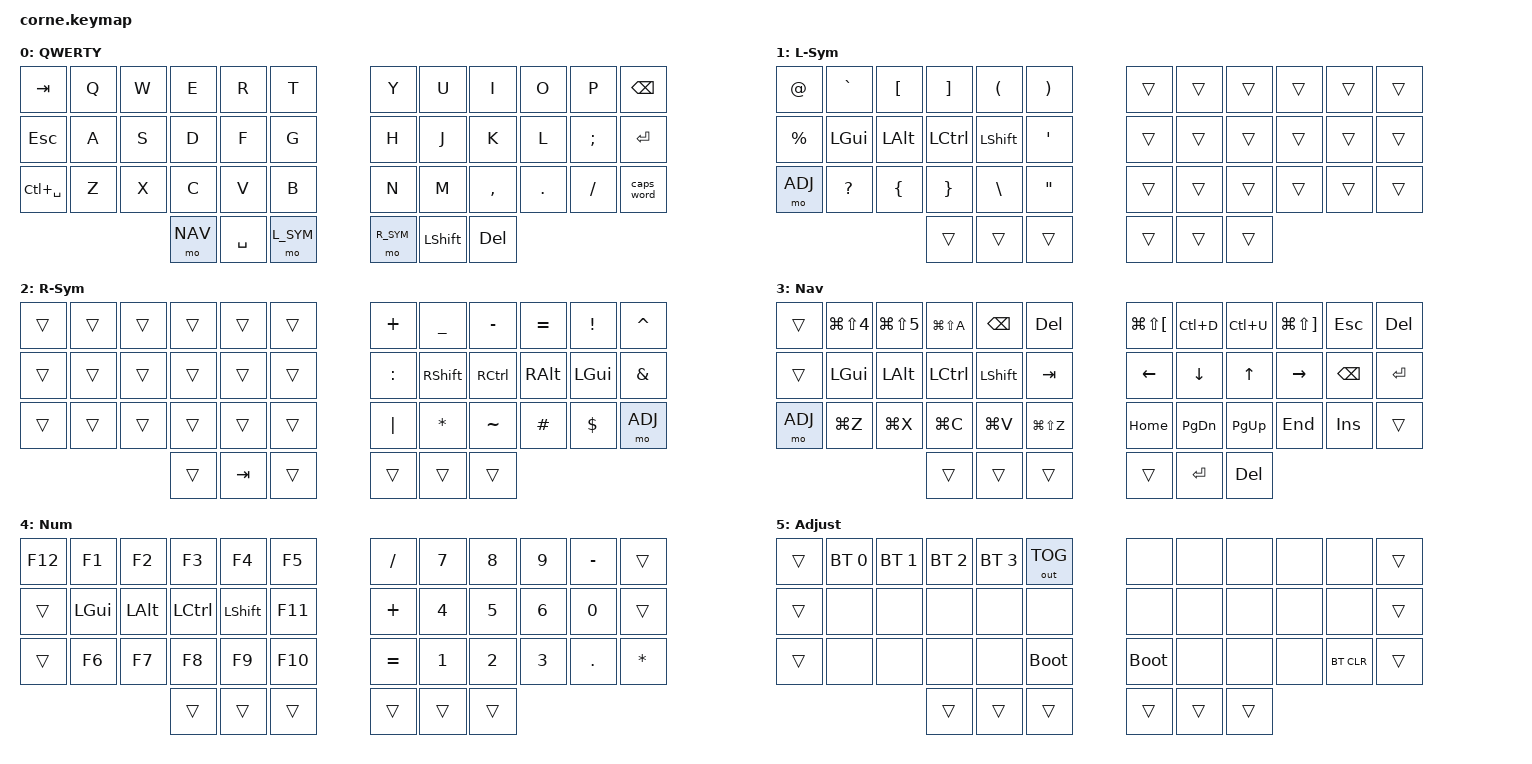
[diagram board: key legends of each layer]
#include <behaviors.dtsi>
#include <dt-bindings/zmk/keys.h>
#include <dt-bindings/zmk/bt.h>
#include <dt-bindings/zmk/outputs.h>

#define BASE_QWT 0
#define L_SYM    1
#define R_SYM    2
#define NAV      3
#define NUM      4
#define ADJ      5

&caps_word {
    continue-list = <UNDERSCORE MINUS BACKSPACE DELETE>;
};

/ {
    conditional_layers {
        compatible = "zmk,conditional-layers";
        tri_layer {
            if-layers = <R_SYM NAV>;
            then-layer = <NUM>;
        };
    };

    keymap {
        compatible = "zmk,keymap";

        // Legend: [HELD] = key(s) held down to keep this layer active ({HELD} = right-hand ADJ alt),
        //         C+SP = Ctrl+Space (한/영; or swap to &kp RGUI for Karabiner right_command -> fn),
        //         G+S4/5 = Cmd+Shift+4/5, G+SA/Z = Cmd+Shift+A/Z, G+S[/] = Cmd+Shift+[/],
        //         C+D/U = Ctrl+D/U, CAPW = Caps Word, ___ = &trans, XXX = &none

        // Layer 0: Base QWERTY (English ABC + Korean 2-Set 두벌식; standard outer pinky edge keys)
        // +------+------+------+------+------+------+   +------+------+------+------+------+------+
        // | TAB  |  Q   |  W   |  E   |  R   |  T   |   |  Y   |  U   |  I   |  O   |  P   | BSPC |
        // | ESC  |  A   |  S   |  D   |  F   |  G   |   |  H   |  J   |  K   |  L   |  ;   | RET  |
        // | C+SP |  Z   |  X   |  C   |  V   |  B   |   |  N   |  M   |  ,   |  .   |  /   | CAPW |
        // +------+------+------+------+------+------+   +------+------+------+------+------+------+
        //                      | NAV  | SPC  | LSYM |   | RSYM | SHFT | DEL  |
        //                      +------+------+------+   +------+------+------+
        base_qwt_layer {
            display-name = "QWERTY";
            bindings = <
                &kp TAB        &kp Q  &kp W  &kp E  &kp R  &kp T        &kp Y  &kp U  &kp I      &kp O    &kp P     &kp BSPC
                &kp ESC        &kp A  &kp S  &kp D  &kp F  &kp G        &kp H  &kp J  &kp K      &kp L    &kp SEMI  &kp RET
                &kp LC(SPACE)  &kp Z  &kp X  &kp C  &kp V  &kp B        &kp N  &kp M  &kp COMMA  &kp DOT  &kp FSLH  &caps_word
                                      &mo NAV  &kp SPACE  &mo L_SYM      &mo R_SYM  &kp LSHFT  &kp DEL
            >;
        };

        // Layer 1: Left Half-Layer — Hold L_IN = [HELD] (Left Mods + Syms | Right Half = &trans Base)
        // +------+------+------+------+------+------+   +------+------+------+------+------+------+
        // |  @   |  `   |  [   |  ]   |  (   |  )   |   | ___  | ___  | ___  | ___  | ___  | ___  |
        // |  %   | LGUI | LALT | LCTL | LSFT |  '   |   | ___  | ___  | ___  | ___  | ___  | ___  |
        // | ADJ  |  ?   |  {   |  }   |  \   |  "   |   | ___  | ___  | ___  | ___  | ___  | ___  |
        // +------+------+------+------+------+------+   +------+------+------+------+------+------+
        //                      | ___  | ___  |[HELD]|   | ___  | ___  | ___  |
        //                      +------+------+------+   +------+------+------+
        l_sym_layer {
            display-name = "L-Sym";
            bindings = <
                &kp AT     &kp GRAVE  &kp LBKT   &kp RBKT   &kp LPAR   &kp RPAR      &trans  &trans  &trans  &trans  &trans  &trans
                &kp PRCNT  &kp LGUI   &kp LALT   &kp LCTRL  &kp LSHFT  &kp SQT       &trans  &trans  &trans  &trans  &trans  &trans
                &mo ADJ    &kp QMARK  &kp LBRC   &kp RBRC   &kp BSLH   &kp DQT       &trans  &trans  &trans  &trans  &trans  &trans
                                      &trans     &trans     &trans                   &trans  &trans  &trans
            >;
        };

        // Layer 2: Right Half-Layer — Hold R_IN = [HELD] (Left Half = &trans Base | Right Mods + Syms)
        //   Uses LGUI (not RGUI) on right pinky so Karabiner right_command -> fn doesn't hijack Cmd
        // +------+------+------+------+------+------+   +------+------+------+------+------+------+
        // | ___  | ___  | ___  | ___  | ___  | ___  |   |  +   |  _   |  -   |  =   |  !   |  ^   |
        // | ___  | ___  | ___  | ___  | ___  | ___  |   |  :   | RSFT | RCTL | RALT | LGUI |  &   |
        // | ___  | ___  | ___  | ___  | ___  | ___  |   |  |   |  *   |  ~   |  #   |  $   | ADJ  |
        // +------+------+------+------+------+------+   +------+------+------+------+------+------+
        //                      | ___  | TAB  | ___  |   |[HELD]| ___  | ___  |
        //                      +------+------+------+   +------+------+------+
        r_sym_layer {
            display-name = "R-Sym";
            bindings = <
                &trans  &trans  &trans  &trans  &trans  &trans       &kp PLUS   &kp UNDER  &kp MINUS  &kp EQUAL  &kp EXCL   &kp CARET
                &trans  &trans  &trans  &trans  &trans  &trans       &kp COLON  &kp RSHFT  &kp RCTRL  &kp RALT   &kp LGUI   &kp AMPS
                &trans  &trans  &trans  &trans  &trans  &trans       &kp PIPE   &kp ASTRK  &kp TILDE  &kp HASH   &kp DLLR   &mo ADJ
                                &trans  &kp TAB &trans               &trans     &trans     &trans
            >;
        };

        // Layer 3: NAV — Hold L_OUT = [HELD] (1-hand Left BSPC/DEL + Right HJKL arrows)
        // +------+------+------+------+------+------+   +------+------+------+------+------+------+
        // | ___  | G+S4 | G+S5 | G+SA | BSPC | DEL  |   | G+S[ | C+D  | C+U  | G+S] | ESC  | DEL  |
        // | ___  | LGUI | LALT | LCTL | LSFT | TAB  |   | LEFT | DOWN |  UP  | RGHT | BSPC | RET  |
        // | ADJ  | G+Z  | G+X  | G+C  | G+V  | G+SZ |   | HOME | PGDN | PGUP | END  | INS  | ___  |
        // +------+------+------+------+------+------+   +------+------+------+------+------+------+
        //                      |[HELD]| ___  | ___  |   | ___  | RET  | DEL  |
        //                      +------+------+------+   +------+------+------+
        nav_layer {
            display-name = "Nav";
            bindings = <
                &trans   &kp LG(LS(N4))  &kp LG(LS(N5))  &kp LG(LS(A))  &kp BSPC   &kp DEL             &kp LG(LS(LBKT))  &kp LC(D)  &kp LC(U)  &kp LG(LS(RBKT))  &kp ESC   &kp DEL
                &trans   &kp LGUI        &kp LALT        &kp LCTRL      &kp LSHFT  &kp TAB             &kp LEFT          &kp DOWN   &kp UP     &kp RIGHT         &kp BSPC  &kp RET
                &mo ADJ  &kp LG(Z)       &kp LG(X)       &kp LG(C)      &kp LG(V)  &kp LG(LS(Z))       &kp HOME          &kp PG_DN  &kp PG_UP  &kp END           &kp INS   &trans
                                         &trans          &trans         &trans                         &trans            &kp RET    &kp DEL
            >;
        };

        // Layer 4: NUM — Tri-Layer: Hold BOTH L_OUT + R_IN = [HELD] (Home Pinky = 0, Col 11 = Base BSPC/RET)
        // +------+------+------+------+------+------+   +------+------+------+------+------+------+
        // | F12  |  F1  |  F2  |  F3  |  F4  |  F5  |   |  /   |  7   |  8   |  9   |  -   | ___  |
        // | ___  | LGUI | LALT | LCTL | LSFT | F11  |   |  +   |  4   |  5   |  6   |  0   | ___  |
        // | ___  |  F6  |  F7  |  F8  |  F9  | F10  |   |  =   |  1   |  2   |  3   |  .   |  *   |
        // +------+------+------+------+------+------+   +------+------+------+------+------+------+
        //                      |[HELD]| ___  | ___  |   |[HELD]| ___  | ___  |
        //                      +------+------+------+   +------+------+------+
        num_layer {
            display-name = "Num";
            bindings = <
                &kp F12  &kp F1    &kp F2    &kp F3     &kp F4     &kp F5       &kp FSLH   &kp N7  &kp N8  &kp N9  &kp MINUS  &trans
                &trans   &kp LGUI  &kp LALT  &kp LCTRL  &kp LSHFT  &kp F11      &kp PLUS   &kp N4  &kp N5  &kp N6  &kp N0     &trans
                &trans   &kp F6    &kp F7    &kp F8     &kp F9     &kp F10      &kp EQUAL  &kp N1  &kp N2  &kp N3  &kp DOT    &kp ASTRK
                                   &trans    &trans     &trans                  &trans     &trans  &trans
            >;
        };

        // Layer 5: Adjust — Hold [HELD]+[HELD] (Left) OR {HELD}+{HELD} (Right)
        // +------+------+------+------+------+------+   +------+------+------+------+------+------+
        // | ___  | BT 0 | BT 1 | BT 2 | BT 3 | OUT  |   | XXX  | XXX  | XXX  | XXX  | XXX  | ___  |
        // | ___  | XXX  | XXX  | XXX  | XXX  | XXX  |   | XXX  | XXX  | XXX  | XXX  | XXX  | ___  |
        // |[HELD]| XXX  | XXX  | XXX  | XXX  | BOOT |   | BOOT | XXX  | XXX  | XXX  |BTCLR |{HELD}|
        // +------+------+------+------+------+------+   +------+------+------+------+------+------+
        //                      | ___  | ___  |[HELD]|   |{HELD}| ___  | ___  |
        //                      +------+------+------+   +------+------+------+
        adj_layer {
            display-name = "Adjust";
            bindings = <
                &trans  &bt BT_SEL 0  &bt BT_SEL 1  &bt BT_SEL 2  &bt BT_SEL 3  &out OUT_TOG      &none        &none  &none  &none  &none       &trans
                &trans  &none         &none         &none         &none         &none             &none        &none  &none  &none  &none       &trans
                &trans  &none         &none         &none         &none         &bootloader       &bootloader  &none  &none  &none  &bt BT_CLR  &trans
                                      &trans        &trans        &trans                          &trans       &trans &trans
            >;
        };
    };
};

